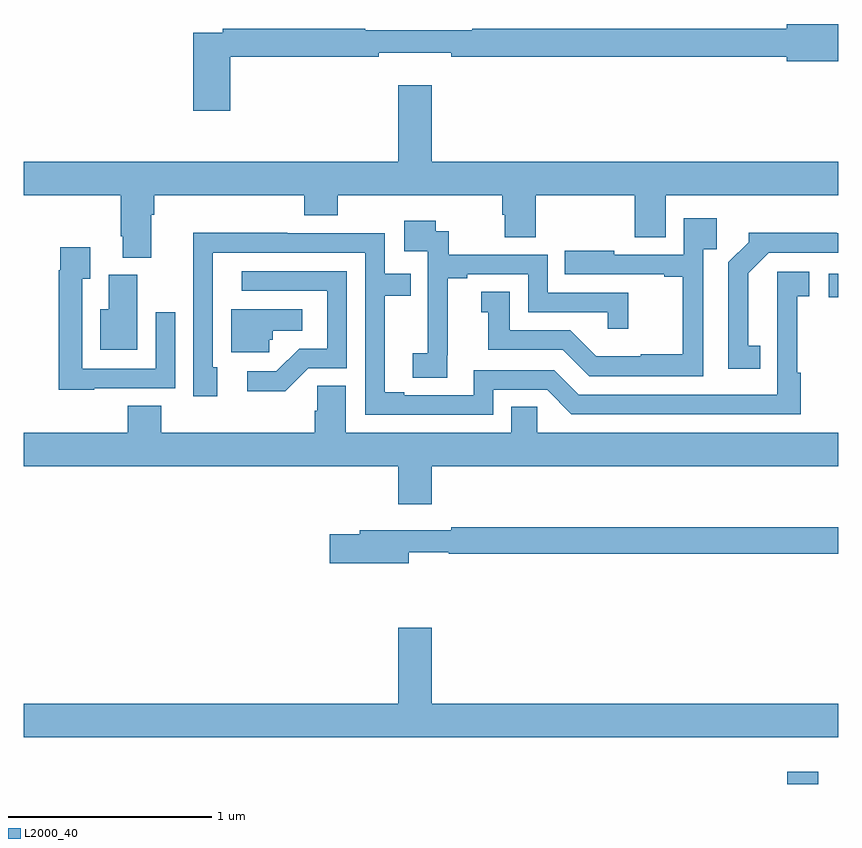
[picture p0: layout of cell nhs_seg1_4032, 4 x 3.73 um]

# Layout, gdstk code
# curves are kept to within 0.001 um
import gdstk
lib = gdstk.Library(unit=1e-6, precision=1e-09)
def R(c, l, rs):  # rectangles x0, y0, x1, y1
    for r in rs: c.add(gdstk.rectangle(r[:2], r[2:], *l))
def P(c, l, *ps):  # polygons
    for p in ps: c.add(gdstk.Polygon(p, *l))
L2000_40 = (2000, 40)

nhs_seg1_4032 = lib.new_cell('nhs_seg1_4032')
R(nhs_seg1_4032, L2000_40, [(334.751,522.199,334.903,522.259), (334.953,524.59,335,524.706)])
P(nhs_seg1_4032, L2000_40, [(332.015,525.772),(332.744,525.772),(332.744,525.791),(333.1,525.791),(333.1,525.772),(334.748,525.772),(334.748,525.749),(335,525.749),(335,525.932),(334.748,525.932),(334.748,525.908),(333.203,525.908),(333.203,525.901),(332.678,525.901),(332.678,525.908),(331.978,525.908),(331.978,525.888),(331.832,525.888),(331.832,525.507),(332.015,525.507)],
  [(331.627,524.996),(331.64,524.996),(331.64,525.092),(332.378,525.092),(332.378,524.993),(332.543,524.993),(332.543,525.092),(333.35,525.092),(333.35,524.994),(333.362,524.994),(333.362,524.884),(333.515,524.884),(333.515,525.092),(334.001,525.092),(334.001,524.884),(334.153,524.884),(334.153,525.092),(335,525.092),(335,525.256),(333.004,525.256),(333.004,525.631),(332.84,525.631),(332.84,525.256),(331,525.256),(331,525.092),(331.475,525.092),(331.475,524.89),(331.487,524.89),(331.487,524.785),(331.627,524.785)],
  [(334.338,524.825),(334.403,524.825),(334.403,524.977),(334.242,524.977),(334.242,524.799),(333.901,524.799),(333.901,524.818),(333.658,524.818),(333.658,524.703),(334.145,524.703),(334.145,524.691),(334.237,524.691),(334.237,524.311),(334.031,524.311),(334.031,524.299),(333.812,524.299),(333.684,524.427),(333.388,524.427),(333.388,524.618),(333.248,524.618),(333.248,524.515),(333.281,524.515),(333.281,524.331),(333.648,524.331),(333.777,524.202),(334.338,524.202)],
  [(333.08,524.305),(333.082,524.305),(333.082,524.683),(333.178,524.683),(333.178,524.703),(333.477,524.703),(333.477,524.517),(333.867,524.517),(333.867,524.436),(333.968,524.436),(333.968,524.613),(333.573,524.613),(333.573,524.799),(333.086,524.799),(333.086,524.913),(333.024,524.913),(333.024,524.965),(332.868,524.965),(332.868,524.817),(332.985,524.817),(332.985,524.513),(332.984,524.513),(332.984,524.316),(332.91,524.316),(332.91,524.194),(333.08,524.194)],
  [(334.616,524.351),(334.558,524.351),(334.558,524.707),(334.659,524.808),(335,524.808),(335,524.904),(334.994,524.904),(334.994,524.906),(334.56,524.906),(334.56,524.861),(334.461,524.762),(334.461,524.238),(334.616,524.238)],
  [(333.306,524.136),(333.57,524.136),(333.69,524.016),(334.817,524.016),(334.817,524.219),(334.8,524.219),(334.8,524.595),(334.858,524.595),(334.858,524.716),(334.7,524.716),(334.701,524.112),(333.726,524.112),(333.606,524.232),(333.21,524.232),(333.21,524.109),(332.869,524.109),(332.869,524.124),(332.773,524.124),(332.773,524.598),(332.9,524.598),(332.9,524.706),(332.772,524.706),(332.772,524.904),(332.294,524.904),(332.294,524.906),(331.832,524.906),(331.833,524.103),(331.951,524.103),(331.951,524.247),(331.929,524.247),(331.929,524.808),(332.676,524.808),(332.676,524.013),(333.306,524.013)],
  [(331.347,524.142),(331.743,524.142),(331.743,524.515),(331.647,524.515),(331.647,524.238),(331.287,524.238),(331.287,524.68),(331.327,524.68),(331.327,524.836),(331.179,524.836),(331.179,524.723),(331.171,524.723),(331.171,524.135),(331.347,524.135)],
  [(332.397,524.241),(332.586,524.241),(332.586,524.718),(332.07,524.718),(332.07,524.622),(332.49,524.622),(332.49,524.337),(332.352,524.337),(332.241,524.226),(332.097,524.226),(332.097,524.129),(332.284,524.129)],
  [(331.558,524.7),(331.418,524.7),(331.418,524.53),(331.376,524.53),(331.376,524.333),(331.558,524.333)],
  [(332.205,524.382),(332.223,524.382),(332.223,524.426),(332.368,524.426),(332.368,524.53),(332.018,524.53),(332.018,524.319),(332.205,524.319)],
  [(333.004,523.76),(335,523.76),(335,523.924),(333.522,523.924),(333.522,524.051),(333.395,524.051),(333.395,523.924),(332.581,523.924),(332.581,524.156),(332.442,524.156),(332.442,524.033),(332.429,524.033),(332.429,523.924),(331.676,523.924),(331.676,524.057),(331.511,524.057),(331.511,523.924),(331,523.924),(331,523.76),(332.84,523.76),(332.84,523.572),(333.004,523.572)],
  [(332.89,523.338),(333.086,523.338),(333.086,523.33),(335,523.33),(335,523.459),(333.1,523.459),(333.1,523.446),(332.651,523.446),(332.651,523.425),(332.502,523.425),(332.502,523.283),(332.89,523.283)],
  [(335,522.592),(333.004,522.592),(333.004,522.967),(332.84,522.967),(332.84,522.592),(331,522.592),(331,522.428),(335,522.428)])

lib.write_gds('nhs_seg1_4032.gds')
